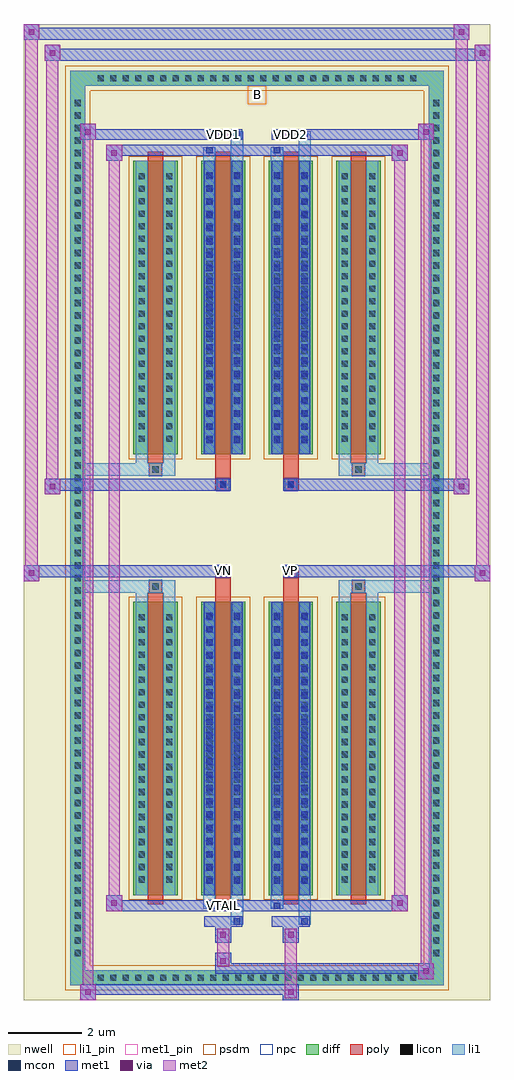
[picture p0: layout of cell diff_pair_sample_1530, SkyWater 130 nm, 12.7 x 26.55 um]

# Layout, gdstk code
import gdstk
lib = gdstk.Library(unit=1e-6, precision=5e-09)
def R(c, l, rs):  # rectangles x0, y0, x1, y1
    for r in rs: c.add(gdstk.rectangle(r[:2], r[2:], *l))
def A(c, l, x, y, w, h, nx, ny, dx, dy):  # array of equal rectangles
    R(c, l, [(x+i*dx, y+j*dy, x+i*dx+w, y+j*dy+h) for i in range(nx) for j in range(ny)])
def P(c, l, *ps):  # polygons
    for p in ps: c.add(gdstk.Polygon(p, *l))
nwell = (64, 20)
diff = (65, 20)
poly = (66, 20)
licon = (66, 44)
li1_pin = (67, 16)
li1 = (67, 20)
mcon = (67, 44)
met1_pin = (68, 16)
met1 = (68, 20)
via = (68, 44)
met2 = (69, 20)
psdm = (94, 20)
npc = (95, 20)

diff_pair_sample_1530 = lib.new_cell('diff_pair_sample_1530')
R(diff_pair_sample_1530, nwell, [(-6.35,-12.84,6.35,13.71), (-3.67,-11.03,-0.01,-0.815), (0.01,-11.03,3.67,-0.815), (-3.67,0.815,-0.01,11.03), (0.01,0.815,3.67,11.03)])
A(diff_pair_sample_1530, diff, -4.455, -12.44, 0.41, 0.41, 26, 2, 0.34, 24.47)
A(diff_pair_sample_1530, diff, -5.08, -11.765, 0.41, 0.41, 1, 69, 0, 0.34)
A(diff_pair_sample_1530, diff, 4.67, -11.765, 0.41, 0.41, 1, 69, 0, 0.34)
A(diff_pair_sample_1530, diff, -3.36, -9.985, 1.2, 7.98, 4, 2, 1.84, 11.99)
R(diff_pair_sample_1530, diff, [(-4.455,-12.44,4.455,-12.03), (-5.08,-11.765,-4.67,11.765), (4.67,-11.765,5.08,11.765), (-4.455,12.03,4.455,12.44)])
P(diff_pair_sample_1530, diff, [(5.08,12.44),(-5.08,12.44),(-5.08,-12.03),(-4.67,-12.03),(-4.67,12.03),(4.67,12.03),(4.67,-12.03),(-4.67,-12.03),(-5.08,-12.03),(-5.08,-12.44),(5.08,-12.44)])
A(diff_pair_sample_1530, poly, -2.97, -10.235, 0.42, 8.48, 4, 2, 1.84, 11.99)
R(diff_pair_sample_1530, poly, [(-2.925,-1.755,-2.595,-1.425), (-2.925,-1.755,-2.595,-1.425), (-1.13,-1.755,-0.71,-1.345), (0.71,-1.755,1.13,-1.345), (2.595,-1.755,2.925,-1.425), (2.595,-1.755,2.925,-1.425), (-1.13,-1.345,-0.71,-1.015), (-1.085,-1.345,-0.755,-1.015), (0.71,-1.345,1.13,-1.015), (0.755,-1.345,1.085,-1.015), (-1.13,1.015,-0.71,1.345), (-1.085,1.015,-0.755,1.345), (0.71,1.015,1.13,1.345), (0.755,1.015,1.085,1.345), (-1.13,1.345,-0.71,1.755), (0.71,1.345,1.13,1.755), (-2.925,1.425,-2.595,1.755), (-2.925,1.425,-2.595,1.755), (2.595,1.425,2.925,1.755), (2.595,1.425,2.925,1.755)])
A(diff_pair_sample_1530, licon, -4.335, -12.32, 0.17, 0.17, 26, 2, 0.34, 24.47)
A(diff_pair_sample_1530, licon, -4.96, -11.645, 0.17, 0.17, 1, 69, 0, 0.34)
A(diff_pair_sample_1530, licon, 4.79, -11.645, 0.17, 0.17, 1, 69, 0, 0.34)
A(diff_pair_sample_1530, licon, -3.22, -9.65, 0.17, 0.17, 1, 22, 0, 0.34)
A(diff_pair_sample_1530, licon, -2.47, -9.65, 0.17, 0.17, 1, 22, 0, 0.34)
A(diff_pair_sample_1530, licon, -1.38, -9.65, 0.17, 0.17, 1, 22, 0, 0.34)
A(diff_pair_sample_1530, licon, -0.63, -9.65, 0.17, 0.17, 1, 22, 0, 0.34)
A(diff_pair_sample_1530, licon, 0.46, -9.65, 0.17, 0.17, 1, 22, 0, 0.34)
A(diff_pair_sample_1530, licon, 1.21, -9.65, 0.17, 0.17, 1, 22, 0, 0.34)
A(diff_pair_sample_1530, licon, 2.3, -9.65, 0.17, 0.17, 1, 22, 0, 0.34)
A(diff_pair_sample_1530, licon, 3.05, -9.65, 0.17, 0.17, 1, 22, 0, 0.34)
A(diff_pair_sample_1530, licon, -3.22, 2.34, 0.17, 0.17, 1, 22, 0, 0.34)
A(diff_pair_sample_1530, licon, -2.47, 2.34, 0.17, 0.17, 1, 22, 0, 0.34)
A(diff_pair_sample_1530, licon, -1.38, 2.34, 0.17, 0.17, 1, 22, 0, 0.34)
A(diff_pair_sample_1530, licon, -0.63, 2.34, 0.17, 0.17, 1, 22, 0, 0.34)
A(diff_pair_sample_1530, licon, 0.46, 2.34, 0.17, 0.17, 1, 22, 0, 0.34)
A(diff_pair_sample_1530, licon, 1.21, 2.34, 0.17, 0.17, 1, 22, 0, 0.34)
A(diff_pair_sample_1530, licon, 2.3, 2.34, 0.17, 0.17, 1, 22, 0, 0.34)
A(diff_pair_sample_1530, licon, 3.05, 2.34, 0.17, 0.17, 1, 22, 0, 0.34)
R(diff_pair_sample_1530, licon, [(-2.845,-1.675,-2.675,-1.505), (2.675,-1.675,2.845,-1.505), (-1.005,-1.265,-0.835,-1.095), (0.835,-1.265,1.005,-1.095), (-1.005,1.095,-0.835,1.265), (0.835,1.095,1.005,1.265), (-2.845,1.505,-2.675,1.675), (2.675,1.505,2.845,1.675)])
R(diff_pair_sample_1530, li1_pin, [(-0.25,11.53,0.25,12.03)])
A(diff_pair_sample_1530, li1, -4.415, -12.4, 0.33, 0.33, 26, 2, 0.34, 24.47)
A(diff_pair_sample_1530, li1, -5.04, -11.725, 0.33, 0.33, 1, 69, 0, 0.34)
A(diff_pair_sample_1530, li1, 4.71, -11.725, 0.33, 0.33, 1, 69, 0, 0.34)
A(diff_pair_sample_1530, li1, -3.3, -9.73, 0.33, 0.33, 1, 22, 0, 0.34)
A(diff_pair_sample_1530, li1, -2.55, -9.73, 0.33, 0.33, 1, 22, 0, 0.34)
A(diff_pair_sample_1530, li1, -1.46, -9.73, 0.33, 0.33, 1, 22, 0, 0.34)
A(diff_pair_sample_1530, li1, -0.71, -9.73, 0.33, 0.33, 1, 22, 0, 0.34)
A(diff_pair_sample_1530, li1, 0.38, -9.73, 0.33, 0.33, 1, 22, 0, 0.34)
A(diff_pair_sample_1530, li1, 1.13, -9.73, 0.33, 0.33, 1, 22, 0, 0.34)
A(diff_pair_sample_1530, li1, 2.22, -9.73, 0.33, 0.33, 1, 22, 0, 0.34)
A(diff_pair_sample_1530, li1, 2.97, -9.73, 0.33, 0.33, 1, 22, 0, 0.34)
A(diff_pair_sample_1530, li1, -1.38, -9.68, 0.17, 0.17, 1, 21, 0, 0.36)
A(diff_pair_sample_1530, li1, -0.63, -9.68, 0.17, 0.17, 1, 21, 0, 0.36)
A(diff_pair_sample_1530, li1, 0.46, -9.68, 0.17, 0.17, 1, 21, 0, 0.36)
A(diff_pair_sample_1530, li1, 1.21, -9.68, 0.17, 0.17, 1, 21, 0, 0.36)
A(diff_pair_sample_1530, li1, -3.3, 2.26, 0.33, 0.33, 1, 22, 0, 0.34)
A(diff_pair_sample_1530, li1, -2.55, 2.26, 0.33, 0.33, 1, 22, 0, 0.34)
A(diff_pair_sample_1530, li1, -1.46, 2.26, 0.33, 0.33, 1, 22, 0, 0.34)
A(diff_pair_sample_1530, li1, -0.71, 2.26, 0.33, 0.33, 1, 22, 0, 0.34)
A(diff_pair_sample_1530, li1, 0.38, 2.26, 0.33, 0.33, 1, 22, 0, 0.34)
A(diff_pair_sample_1530, li1, 1.13, 2.26, 0.33, 0.33, 1, 22, 0, 0.34)
A(diff_pair_sample_1530, li1, 2.22, 2.26, 0.33, 0.33, 1, 22, 0, 0.34)
A(diff_pair_sample_1530, li1, 2.97, 2.26, 0.33, 0.33, 1, 22, 0, 0.34)
A(diff_pair_sample_1530, li1, -1.38, 2.31, 0.17, 0.17, 1, 21, 0, 0.36)
A(diff_pair_sample_1530, li1, -0.63, 2.31, 0.17, 0.17, 1, 21, 0, 0.36)
A(diff_pair_sample_1530, li1, 0.46, 2.31, 0.17, 0.17, 1, 21, 0, 0.36)
A(diff_pair_sample_1530, li1, 1.21, 2.31, 0.17, 0.17, 1, 21, 0, 0.36)
R(diff_pair_sample_1530, li1, [(-5.08,-12.44,-4.67,-12.03), (-5.08,-12.44,-4.67,-12.03), (-4.67,-12.44,4.67,-12.03), (4.67,-12.44,5.08,-12.03), (4.67,-12.44,5.08,-12.03), (-5.08,-12.03,-4.67,12.03), (4.67,-12.03,5.08,12.03), (-0.71,-10.79,-0.38,-9.985), (-0.63,-10.79,-0.46,-10.62), (1.13,-10.79,1.46,-9.985), (1.21,-10.79,1.38,-10.62), (-1.46,-10.36,-1.13,-9.985), (-1.38,-10.36,-1.21,-10.19), (0.38,-10.36,0.71,-9.985), (0.46,-10.36,0.63,-10.19), (-3.3,-9.985,-2.97,-2.005), (-2.55,-9.985,-2.22,-2.005), (-1.46,-9.985,-1.13,-2.005), (-0.71,-9.985,-0.38,-2.005), (0.38,-9.985,0.71,-2.005), (1.13,-9.985,1.46,-2.005), (2.22,-9.985,2.55,-2.005), (2.97,-9.985,3.3,-2.005), (-1.38,-9.68,-1.21,-2.31), (-0.63,-9.68,-0.46,-2.31), (0.46,-9.68,0.63,-2.31), (1.21,-9.68,1.38,-2.31), (-3.3,-2.005,-2.97,-1.425), (-2.55,-2.005,-2.22,-1.425), (2.22,-2.005,2.55,-1.425), (2.97,-2.005,3.3,-1.425), (-5.08,-1.755,-2.925,-1.425), (-3.3,-1.755,-2.925,-1.425), (-2.925,-1.755,-2.595,-1.425), (-2.595,-1.755,-2.22,-1.425), (2.22,-1.755,2.595,-1.425), (2.595,-1.755,2.925,-1.425), (2.595,-1.755,5.08,-1.425), (2.925,-1.755,3.3,-1.425), (-1.085,-1.345,-0.755,-1.015), (0.755,-1.345,1.085,-1.015), (-1.085,1.015,-0.755,1.345), (0.755,1.015,1.085,1.345), (-5.08,1.425,-2.925,1.755), (-3.3,1.425,-2.925,1.755), (-3.3,1.425,-2.97,2.005), (-2.925,1.425,-2.595,1.755), (-2.595,1.425,-2.22,1.755), (-2.55,1.425,-2.22,2.005), (2.22,1.425,2.595,1.755), (2.22,1.425,2.55,2.005), (2.595,1.425,2.925,1.755), (2.595,1.425,5.08,1.755), (2.925,1.425,3.3,1.755), (2.97,1.425,3.3,2.005), (-3.3,2.005,-2.97,9.985), (-2.55,2.005,-2.22,9.985), (-1.46,2.005,-1.13,9.985), (-0.71,2.005,-0.38,9.985), (0.38,2.005,0.71,9.985), (1.13,2.005,1.46,9.985), (2.22,2.005,2.55,9.985), (2.97,2.005,3.3,9.985), (-1.38,2.31,-1.21,9.68), (-0.63,2.31,-0.46,9.68), (0.46,2.31,0.63,9.68), (1.21,2.31,1.38,9.68), (-1.46,9.985,-1.13,10.36), (-0.71,9.985,-0.38,10.79), (0.38,9.985,0.71,10.36), (1.13,9.985,1.46,10.79), (-1.38,10.19,-1.21,10.36), (0.46,10.19,0.63,10.36), (-0.63,10.62,-0.46,10.79), (1.21,10.62,1.38,10.79), (-5.08,12.03,-4.67,12.44), (-5.08,12.03,-4.67,12.44), (-4.67,12.03,4.67,12.44), (4.67,12.03,5.08,12.44), (4.67,12.03,5.08,12.44)])
A(diff_pair_sample_1530, mcon, -1.38, -9.68, 0.17, 0.17, 1, 21, 0, 0.36)
A(diff_pair_sample_1530, mcon, -0.63, -9.68, 0.17, 0.17, 1, 21, 0, 0.36)
A(diff_pair_sample_1530, mcon, 0.46, -9.68, 0.17, 0.17, 1, 21, 0, 0.36)
A(diff_pair_sample_1530, mcon, 1.21, -9.68, 0.17, 0.17, 1, 21, 0, 0.36)
A(diff_pair_sample_1530, mcon, -1.38, 2.31, 0.17, 0.17, 1, 21, 0, 0.36)
A(diff_pair_sample_1530, mcon, -0.63, 2.31, 0.17, 0.17, 1, 21, 0, 0.36)
A(diff_pair_sample_1530, mcon, 0.46, 2.31, 0.17, 0.17, 1, 21, 0, 0.36)
A(diff_pair_sample_1530, mcon, 1.21, 2.31, 0.17, 0.17, 1, 21, 0, 0.36)
R(diff_pair_sample_1530, mcon, [(-0.63,-10.79,-0.46,-10.62), (1.21,-10.79,1.38,-10.62), (-1.38,-10.36,-1.21,-10.19), (0.46,-10.36,0.63,-10.19), (-1.005,-1.265,-0.835,-1.095), (0.835,-1.265,1.005,-1.095), (-1.005,1.095,-0.835,1.265), (0.835,1.095,1.005,1.265), (-1.38,10.19,-1.21,10.36), (0.46,10.19,0.63,10.36), (-0.63,10.62,-0.46,10.79), (1.21,10.62,1.38,10.79)])
R(diff_pair_sample_1530, met1_pin, [(-1.055,-10.4,-0.785,-10.13), (-1.055,-1.285,-0.785,-1.015), (0.785,-1.285,1.055,-1.015), (-1.055,10.58,-0.785,10.85), (0.785,10.58,1.055,10.85)])
A(diff_pair_sample_1530, met1, -1.44, -9.74, 0.29, 0.29, 1, 21, 0, 0.36)
A(diff_pair_sample_1530, met1, -0.69, -9.74, 0.29, 0.29, 1, 21, 0, 0.36)
A(diff_pair_sample_1530, met1, 0.4, -9.74, 0.29, 0.29, 1, 21, 0, 0.36)
A(diff_pair_sample_1530, met1, 1.15, -9.74, 0.29, 0.29, 1, 21, 0, 0.36)
A(diff_pair_sample_1530, met1, -1.44, 2.25, 0.29, 0.29, 1, 21, 0, 0.36)
A(diff_pair_sample_1530, met1, -0.69, 2.25, 0.29, 0.29, 1, 21, 0, 0.36)
A(diff_pair_sample_1530, met1, 0.4, 2.25, 0.29, 0.29, 1, 21, 0, 0.36)
A(diff_pair_sample_1530, met1, 1.15, 2.25, 0.29, 0.29, 1, 21, 0, 0.36)
R(diff_pair_sample_1530, met1, [(-4.81,-12.84,-4.38,-12.41), (0.705,-12.84,1.135,-12.41), (-4.81,-12.7,1.135,-12.41), (4.38,-12.27,4.81,-11.84), (-1.135,-12.13,4.81,-11.84), (-1.135,-11.99,-0.705,-11.56), (-1.135,-11.28,-0.705,-10.85), (0.705,-11.28,1.135,-10.85), (-1.44,-10.85,-0.4,-10.56), (-0.69,-10.85,-0.4,-10.56), (0.4,-10.85,1.44,-10.56), (1.15,-10.85,1.44,-10.56), (-4.1,-10.42,-3.67,-9.99), (-4.1,-10.42,-1.44,-10.13), (-1.44,-10.42,-1.15,-10.13), (-1.44,-10.42,-0.4,-10.13), (-0.4,-10.42,0.4,-10.13), (0.4,-10.42,0.69,-10.13), (0.4,-10.42,1.44,-10.13), (1.44,-10.42,4.1,-10.13), (3.67,-10.42,4.1,-9.99), (-1.44,-9.985,-1.15,-2.005), (-0.69,-9.985,-0.4,-2.005), (0.4,-9.985,0.69,-2.005), (1.15,-9.985,1.44,-2.005), (-6.35,-1.445,-5.92,-1.015), (5.92,-1.445,6.35,-1.015), (-6.35,-1.345,-0.71,-1.015), (-1.13,-1.345,-0.71,-1.015), (0.71,-1.345,1.13,-1.015), (0.71,-1.345,6.35,-1.015), (-1.065,-1.325,-0.775,-1.035), (0.775,-1.325,1.065,-1.035), (-5.78,0.915,-5.35,1.345), (5.35,0.915,5.78,1.345), (-5.78,1.015,-1.13,1.345), (-1.13,1.015,-0.71,1.345), (0.71,1.015,1.13,1.345), (1.13,1.015,5.78,1.345), (-1.065,1.035,-0.775,1.325), (0.775,1.035,1.065,1.325), (-1.44,2.005,-1.15,9.985), (-0.69,2.005,-0.4,9.985), (0.4,2.005,0.69,9.985), (1.15,2.005,1.44,9.985), (-4.1,9.99,-3.67,10.42), (3.67,9.99,4.1,10.42), (-4.1,10.13,-1.44,10.42), (-1.44,10.13,-1.15,10.42), (-1.44,10.13,-0.4,10.42), (-0.4,10.13,0.4,10.42), (0.4,10.13,0.69,10.42), (0.4,10.13,1.44,10.42), (1.44,10.13,4.1,10.42), (-4.81,10.56,-4.38,10.99), (-4.81,10.56,-1.44,10.85), (-1.44,10.56,-0.4,10.85), (-0.69,10.56,-0.4,10.85), (0.4,10.56,1.44,10.85), (1.15,10.56,1.44,10.85), (1.44,10.56,4.81,10.85), (4.38,10.56,4.81,10.99), (-5.78,12.71,-5.35,13.14), (-5.78,12.71,-3.67,13.04), (-3.67,12.71,3.67,13.04), (3.67,12.71,6.35,13.04), (5.92,12.71,6.35,13.14), (-6.35,13.28,-5.92,13.71), (-6.35,13.28,-3.67,13.61), (-3.67,13.28,3.67,13.61), (3.67,13.28,5.78,13.61), (5.35,13.28,5.78,13.71)])
R(diff_pair_sample_1530, via, [(-4.67,-12.7,-4.52,-12.55), (0.845,-12.7,0.995,-12.55), (4.52,-12.13,4.67,-11.98), (-0.995,-11.85,-0.845,-11.7), (-0.995,-11.14,-0.845,-10.99), (0.845,-11.14,0.995,-10.99), (-3.96,-10.28,-3.81,-10.13), (3.81,-10.28,3.96,-10.13), (-6.21,-1.305,-6.06,-1.155), (6.06,-1.305,6.21,-1.155), (-5.64,1.055,-5.49,1.205), (5.49,1.055,5.64,1.205), (-3.96,10.13,-3.81,10.28), (3.81,10.13,3.96,10.28), (-4.67,10.7,-4.52,10.85), (4.52,10.7,4.67,10.85), (-5.64,12.85,-5.49,13), (6.06,12.85,6.21,13), (-6.21,13.42,-6.06,13.57), (5.49,13.42,5.64,13.57)])
R(diff_pair_sample_1530, met2, [(-4.81,-12.84,-4.38,-12.41), (-4.74,-12.84,-4.45,10.99), (-4.45,-12.84,-4.38,-12.41), (-4.76,-12.79,-4.43,-12.46), (0.755,-12.79,1.085,-12.46), (0.755,-12.46,1.085,-11.23), (4.38,-12.27,4.81,-11.84), (4.45,-12.27,4.74,10.99), (4.74,-12.27,4.81,-11.84), (4.43,-12.22,4.76,-11.89), (-1.085,-11.94,-0.755,-11.61), (-1.085,-11.61,-0.755,-11.23), (-1.085,-11.23,-0.755,-10.9), (0.755,-11.23,1.085,-10.9), (-4.1,-10.42,-3.67,-9.99), (-4.03,-10.42,-3.74,10.42), (-3.74,-10.42,-3.67,-9.99), (3.67,-10.42,4.1,-9.99), (3.74,-10.42,4.03,10.42), (4.03,-10.42,4.1,-9.99), (-4.05,-10.37,-3.72,-10.04), (3.72,-10.37,4.05,-10.04), (-6.35,-1.445,-5.92,-1.015), (-6.3,-1.445,-5.97,13.71), (-5.97,-1.445,-5.92,-1.015), (5.92,-1.445,6.35,-1.015), (5.97,-1.445,6.3,13.14), (6.3,-1.445,6.35,-1.015), (-6.3,-1.395,-5.97,-1.065), (5.97,-1.395,6.3,-1.065), (-5.78,0.915,-5.35,1.345), (-5.73,0.915,-5.4,13.14), (-5.4,0.915,-5.35,1.345), (5.35,0.915,5.78,1.345), (5.4,0.915,5.73,13.71), (5.73,0.915,5.78,1.345), (-5.73,0.965,-5.4,1.295), (5.4,0.965,5.73,1.295), (-4.1,9.99,-3.67,10.42), (-3.74,9.99,-3.67,10.42), (3.67,9.99,4.1,10.42), (4.03,9.99,4.1,10.42), (-4.05,10.04,-3.72,10.37), (3.72,10.04,4.05,10.37), (-4.81,10.56,-4.38,10.99), (-4.45,10.56,-4.38,10.99), (4.38,10.56,4.81,10.99), (4.74,10.56,4.81,10.99), (-4.76,10.61,-4.43,10.94), (4.43,10.61,4.76,10.94), (-5.78,12.71,-5.35,13.14), (-5.4,12.71,-5.35,13.14), (5.92,12.71,6.35,13.14), (6.3,12.71,6.35,13.14), (-5.73,12.76,-5.4,13.09), (5.97,12.76,6.3,13.09), (-6.35,13.28,-5.92,13.71), (-5.97,13.28,-5.92,13.71), (5.35,13.28,5.78,13.71), (5.73,13.28,5.78,13.71), (-6.3,13.33,-5.97,13.66), (5.4,13.33,5.73,13.66)])
A(diff_pair_sample_1530, psdm, -3.49, -10.115, 1.46, 8.24, 4, 2, 1.84, 11.99)
P(diff_pair_sample_1530, psdm, [(5.21,12.57),(-5.21,12.57),(-5.21,-11.9),(-4.54,-11.9),(-4.54,11.9),(4.54,11.9),(4.54,-11.9),(-4.54,-11.9),(-5.21,-11.9),(-5.21,-12.57),(5.21,-12.57)])
R(diff_pair_sample_1530, npc, [(-2.945,-1.775,-2.575,-1.405), (2.575,-1.775,2.945,-1.405), (-1.105,-1.365,-0.735,-0.995), (0.735,-1.365,1.105,-0.995), (-1.105,0.995,-0.735,1.365), (0.735,0.995,1.105,1.365), (-2.945,1.405,-2.575,1.775), (2.575,1.405,2.945,1.775)])
diff_pair_sample_1530.add(gdstk.Label('VTAIL', (-0.92,-10.265), layer=68, texttype=5))
diff_pair_sample_1530.add(gdstk.Label('VN', (-0.92,-1.15), layer=68, texttype=5))
diff_pair_sample_1530.add(gdstk.Label('VP', (0.92,-1.15), layer=68, texttype=5))
diff_pair_sample_1530.add(gdstk.Label('B', (0,11.78), layer=67, texttype=5))
diff_pair_sample_1530.add(gdstk.Label('VDD2', (0.92,10.715), layer=68, texttype=5))
diff_pair_sample_1530.add(gdstk.Label('VDD1', (-0.92,10.715), layer=68, texttype=5))

lib.write_gds('diff_pair_sample_1530.gds')
